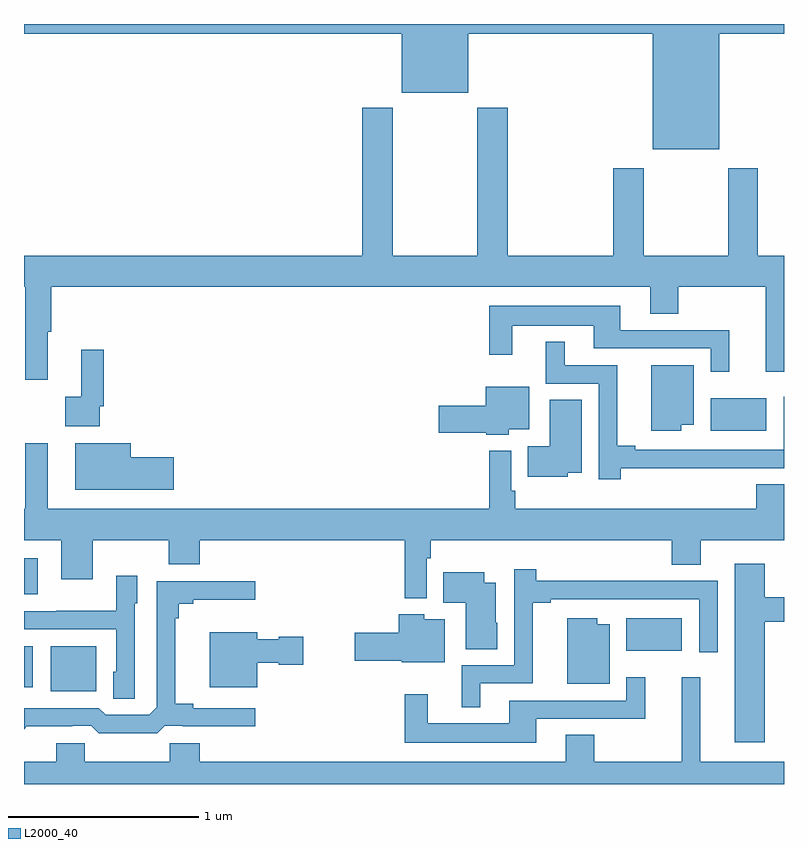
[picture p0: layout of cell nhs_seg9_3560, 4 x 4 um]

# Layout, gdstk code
import gdstk
lib = gdstk.Library(unit=1e-6, precision=1e-09)
def R(c, l, rs):  # rectangles x0, y0, x1, y1
    for r in rs: c.add(gdstk.rectangle(r[:2], r[2:], *l))
def P(c, l, *ps):  # polygons
    for p in ps: c.add(gdstk.Polygon(p, *l))
L2000_40 = (2000, 40)

nhs_seg9_3560 = lib.new_cell('nhs_seg9_3560')
R(nhs_seg9_3560, L2000_40, [(315.14,1164.989,315.379,1165.225), (315,1165.01,315.046,1165.225), (318.17,1165.202,318.463,1165.372), (315,1165.5,315.073,1165.687), (318.614,1166.36,318.907,1166.53)])
P(nhs_seg9_3560, L2000_40, [(315,1168.448),(316.988,1168.448),(316.988,1168.139),(317.338,1168.139),(317.338,1168.448),(318.308,1168.448),(318.308,1167.842),(318.658,1167.842),(318.658,1168.448),(319,1168.448),(319,1168.5),(315,1168.5)],
  [(315.125,1166.88),(315.143,1166.88),(315.143,1167.116),(318.296,1167.116),(318.296,1166.974),(318.444,1166.974),(318.444,1167.116),(318.905,1167.116),(318.905,1166.67),(319,1166.67),(319,1167.28),(318.861,1167.28),(318.861,1167.742),(318.706,1167.742),(318.706,1167.28),(318.261,1167.28),(318.261,1167.742),(318.101,1167.742),(318.101,1167.28),(317.546,1167.28),(317.546,1168.06),(317.386,1168.06),(317.386,1167.28),(316.941,1167.28),(316.941,1168.06),(316.781,1168.06),(316.781,1167.28),(315,1167.28),(315,1167.116),(315.007,1167.116),(315.007,1166.628),(315.125,1166.628)],
  [(318.713,1166.889),(318.139,1166.889),(318.139,1167.016),(317.448,1167.016),(317.448,1166.76),(317.569,1166.76),(317.569,1166.912),(317.999,1166.912),(317.999,1166.793),(318.615,1166.793),(318.615,1166.67),(318.713,1166.67)],
  [(318.14,1166.162),(318.77,1166.162),(318.77,1166.163),(319,1166.163),(319,1166.539),(318.999,1166.539),(318.999,1166.259),(318.217,1166.259),(318.217,1166.279),(318.122,1166.279),(318.122,1166.703),(317.845,1166.703),(317.845,1166.827),(317.747,1166.827),(317.747,1166.607),(318.024,1166.607),(318.024,1166.103),(318.14,1166.103)],
  [(315.399,1166.488),(315.419,1166.488),(315.419,1166.785),(315.302,1166.785),(315.302,1166.537),(315.216,1166.537),(315.216,1166.384),(315.399,1166.384)],
  [(318.46,1166.39),(318.526,1166.39),(318.526,1166.704),(318.302,1166.704),(318.302,1166.36),(318.46,1166.36)],
  [(317.55,1166.366),(317.659,1166.366),(317.659,1166.59),(317.429,1166.59),(317.429,1166.492),(317.184,1166.492),(317.184,1166.35),(317.433,1166.35),(317.433,1166.339),(317.55,1166.339)],
  [(317.862,1166.138),(317.935,1166.138),(317.935,1166.522),(317.768,1166.522),(317.768,1166.278),(317.65,1166.278),(317.65,1166.117),(317.862,1166.117)],
  [(319,1166.078),(318.854,1166.078),(318.854,1165.948),(317.585,1165.948),(317.585,1166.044),(317.565,1166.044),(317.565,1166.254),(317.449,1166.254),(317.449,1165.948),(315.124,1165.948),(315.124,1166.293),(315.007,1166.293),(315.007,1165.948),(315,1165.948),(315,1165.784),(315.197,1165.784),(315.197,1165.578),(315.361,1165.578),(315.361,1165.784),(315.761,1165.784),(315.761,1165.656),(315.925,1165.656),(315.925,1165.784),(317.005,1165.784),(317.005,1165.478),(317.121,1165.478),(317.121,1165.688),(317.141,1165.688),(317.141,1165.784),(318.41,1165.784),(318.41,1165.654),(318.562,1165.654),(318.562,1165.784),(319,1165.784)],
  [(315.787,1166.219),(315.562,1166.219),(315.562,1166.293),(315.269,1166.293),(315.269,1166.048),(315.787,1166.048)],
  [(318.899,1165.354),(319,1165.354),(319,1165.483),(318.899,1165.483),(318.899,1165.66),(318.74,1165.66),(318.74,1164.72),(318.899,1164.72)],
  [(317.401,1165.029),(317.678,1165.029),(317.678,1165.453),(317.773,1165.453),(317.773,1165.473),(318.555,1165.473),(318.555,1165.194),(318.651,1165.194),(318.651,1165.569),(318.326,1165.569),(318.326,1165.571),(317.696,1165.571),(317.696,1165.63),(317.58,1165.63),(317.58,1165.125),(317.303,1165.125),(317.303,1164.905),(317.401,1164.905)],
  [(317.491,1165.35),(317.482,1165.35),(317.482,1165.558),(317.422,1165.558),(317.422,1165.615),(317.206,1165.615),(317.206,1165.454),(317.324,1165.454),(317.324,1165.21),(317.491,1165.21)],
  [(315.582,1165.452),(315.595,1165.452),(315.595,1165.597),(315.486,1165.597),(315.486,1165.411),(315.169,1165.411),(315.169,1165.41),(315,1165.41),(315,1165.314),(315.486,1165.314),(315.486,1165.092),(315.47,1165.092),(315.47,1164.949),(315.582,1164.949)],
  [(315.741,1164.807),(315.835,1164.807),(315.835,1164.803),(316.216,1164.803),(316.216,1164.9),(315.892,1164.9),(315.892,1164.923),(315.797,1164.923),(315.797,1165.373),(315.815,1165.373),(315.815,1165.45),(315.892,1165.45),(315.892,1165.469),(316.216,1165.469),(316.216,1165.566),(315.699,1165.566),(315.699,1164.903),(315.66,1164.864),(315.429,1164.864),(315.393,1164.9),(315,1164.9),(315,1164.789),(315.014,1164.803),(315.254,1164.803),(315.254,1164.807),(315.354,1164.807),(315.394,1164.768),(315.701,1164.768)],
  [(317.215,1165.366),(317.106,1165.366),(317.106,1165.393),(316.973,1165.393),(316.973,1165.295),(316.74,1165.295),(316.74,1165.148),(316.989,1165.148),(316.989,1165.142),(317.215,1165.142)],
  [(318.082,1165.342),(318.016,1165.342),(318.016,1165.372),(317.858,1165.372),(317.858,1165.028),(318.082,1165.028)],
  [(316.228,1165.139),(316.341,1165.139),(316.341,1165.127),(316.471,1165.127),(316.471,1165.274),(316.341,1165.274),(316.341,1165.261),(316.228,1165.261),(316.228,1165.3),(315.977,1165.3),(315.977,1165.01),(316.228,1165.01)],
  [(317.695,1164.843),(318.269,1164.843),(318.269,1165.063),(318.171,1165.063),(318.171,1164.939),(317.555,1164.939),(317.555,1164.82),(317.125,1164.82),(317.125,1164.973),(317.004,1164.973),(317.004,1164.716),(317.695,1164.716)],
  [(315.926,1164.714),(315.766,1164.714),(315.766,1164.616),(315.321,1164.616),(315.321,1164.714),(315.17,1164.714),(315.17,1164.616),(315,1164.616),(315,1164.5),(319,1164.5),(319,1164.616),(318.56,1164.616),(318.56,1165.063),(318.461,1165.063),(318.461,1164.616),(318,1164.616),(318,1164.758),(317.852,1164.758),(317.852,1164.616),(315.926,1164.616)])

lib.write_gds('nhs_seg9_3560.gds')
